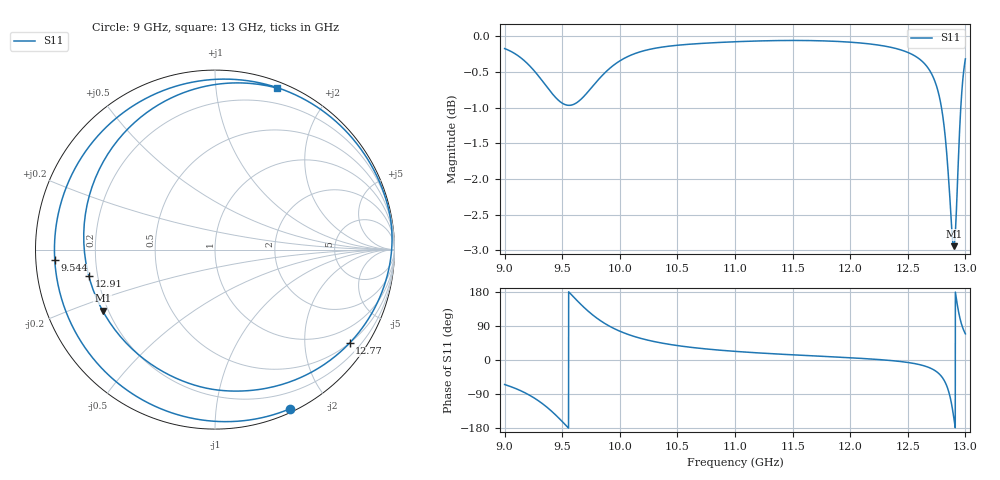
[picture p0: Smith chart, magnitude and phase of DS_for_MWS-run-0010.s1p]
! TOUCHSTONE file generated by CST DESIGN STUDIO
! Date and time: Tue Feb  4 16:27:53 2025
! Project name: C:\Work\MatlabApps\UnitCellOptimizationMatlab\CST\unitcell.cst
! Tree item: Tasks\Sweep1\SPara1\S-Parameters
! Header version: 2024
! Port assignment regex: !\s*Touchstone port\s*([0-9]+)\s*=\s*(CST MWS port|CST DES external port|CST DES block port)\s*(.+)\s* \(\"(.*)\"\)(\s*mode\s*([0-9]+))?.*
! Touchstone port assignment:
! Touchstone port 1 = CST DES external port 1 ("")
# GHz S MA R 50
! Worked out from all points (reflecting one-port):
!   4001 points, 9 GHz to 13 GHz, reference 50 ohm
!   lowest |S11| = -2.9 dB at 12.9 GHz (marker M1), VSWR 5.96, Z = 8.91 - j12.4 ohm
!   phase of S11 starts at -65 deg and turns -586 deg over the sweep
!   S11 on the Smith chart (normalised r, x): 9 GHz: 0.03, -1.58; 9.544 GHz: 0.06, -0.03; 12.77 GHz: 0.50, -3.12; 12.91 GHz: 0.17, -0.10; 13 GHz: 0.06, +1.45
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9  0.9803 -64.7
9.142  0.9656 -81.4
9.293  0.9381 -107.5
9.396  0.9152 -132.0
9.5  0.8977 -162.3
9.544  0.8947 -176.2
9.638  0.8998 154.0
9.759  0.9213 120.3
9.865  0.9417 97.3
10  0.961 76.0
10.215  0.9771 54.4
10.5  0.9855 38.1
11  0.9911 22.8
11.5  0.9932 13.7
12  0.9904 5.9
12.5  0.9742 -6.5
12.673  0.9507 -18.6
12.766  0.9128 -34.8
12.816  0.8637 -53.9
12.856  0.7911 -84.5
12.878  0.7393 -112.9
12.899  0.7128 -151.4
12.907  0.7184 -168.1
12.927  0.7729 151.0
12.951  0.8632 112.4
12.971  0.9191 90.2
12.986  0.9466 78.0
13  0.9641 69.0
